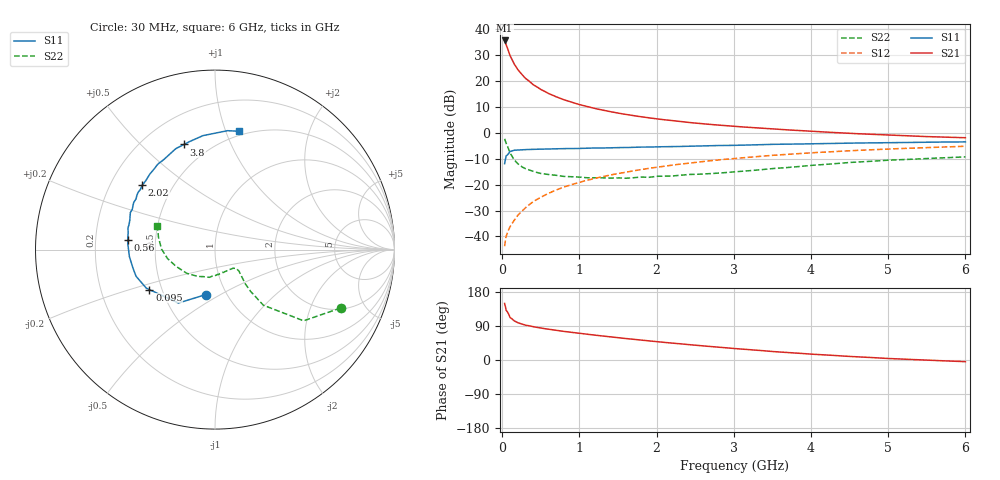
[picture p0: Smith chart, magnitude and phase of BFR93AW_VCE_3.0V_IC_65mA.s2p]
! Infineon Technologies  Discrete & RF Semiconductors
! BFR93AW
! VCE =  3.0 V,  IC =  65 mA
! Common Emitter S-Parameters:  Nov 2015
# GHz  S  MA  R  50
!  f  S11  S21  S12  S22
! GHz  MAG  ANG  MAG  ANG  MAG  ANG  MAG  ANG
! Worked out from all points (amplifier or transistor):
!   206 points, 30 MHz to 6 GHz, reference 50 ohm
!   highest |S21| = 35.8 dB at 30 MHz (marker M1)
!   |S21| within 3 dB of that: start of sweep to 67.41 MHz
!   unconditionally stable (mu >= 1): 250.9 MHz to 2.292 GHz
!   at 200 MHz: K = 0.96, MSG = 28.2 dB, |S12| = -31.9 dB
!   at 1.56 GHz: K = 1.05, MAG = 10.0 dB, |S12| = -15.3 dB
!   at 6 GHz: K = 0.94, MSG = 1.6 dB, |S12| = -5.1 dB
!   S11 on the Smith chart (normalised r, x): 30 MHz: 0.80, -0.43; 95 MHz: 0.43, -0.23; 560 MHz: 0.34, +0.05; 2.02 GHz: 0.34, +0.34; 3.8 GHz: 0.36, +0.68; 6 GHz: 0.46, +1.11
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0.03  0.2554 -101.4  61.4 149.2  0.0065 73.5  0.7718 -25.0
0.05  0.3611 -124.5  50.66 131.2  0.0101 67.6  0.6333 -38.8
0.095  0.4277 -148.6  33.02 115.0  0.0149 67.4  0.4319 -47.5
0.1  0.4389 -150.7  31.32 112.2  0.0154 67.4  0.4105 -49.0
0.15  0.4642 -161.3  21.93 103.7  0.02 69.5  0.3073 -49.6
0.2  0.4687 -167.5  16.83 98.4  0.0255 73.3  0.2557 -48.5
0.24  0.4723 -171.4  14.22 95.7  0.0294 73.2  0.2294 -46.9
0.26  0.4745 -173.0  13.13 94.3  0.0315 73.4  0.2192 -46.1
0.3  0.4785 -175.3  11.38 92.0  0.036 74.2  0.2048 -45.0
0.4  0.4826 179.5  8.59 87.7  0.0469 75.6  0.1805 -42.0
0.5  0.4878 175.5  6.923 84.1  0.0574 76.4  0.1651 -41.5
0.56  0.4893 173.7  6.242 82.4  0.0639 76.5  0.1604 -41.6
0.7  0.4926 169.0  4.993 78.1  0.0793 76.4  0.152 -43.1
0.8  0.4995 166.2  4.38 75.4  0.0903 75.6  0.1447 -45.8
1.04  0.5046 159.9  3.413 69.4  0.1157 74.1  0.1388 -51.9
1.5  0.5234 150.0  2.418 58.8  0.1645 70.3  0.136 -69.2
2.02  0.5413 138.5  1.859 48.0  0.22 65.2  0.1457 -89.9
3.1  0.581 118.0  1.314 28.9  0.3302 53.7  0.1814 -126.2
3.8  0.6109 106.4  1.125 18.4  0.396 45.8  0.2217 -150.6
4.1  0.6215 101.7  1.059 14.4  0.4217 42.4  0.2419 -159.6
5.1  0.6517 88.6  0.901 3.2  0.4966 31.2  0.3018 177.0
6  0.6729 78.6  0.81 -4.4  0.5543 21.9  0.3457 158.1
